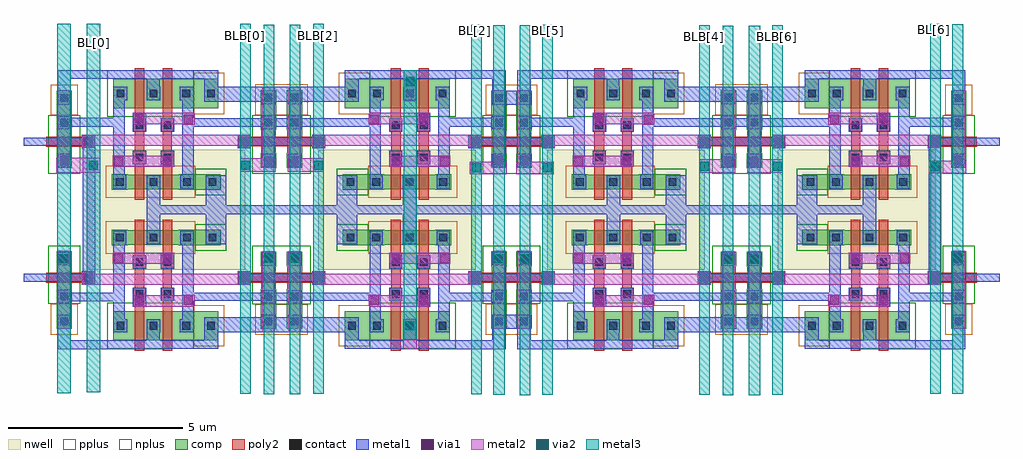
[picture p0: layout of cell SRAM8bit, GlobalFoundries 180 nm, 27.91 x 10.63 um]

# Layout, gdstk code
from math import pi, radians
import gdstk
lib = gdstk.Library(unit=1e-6, precision=5e-09)
def R(c, l, rs):  # rectangles x0, y0, x1, y1
    for r in rs: c.add(gdstk.rectangle(r[:2], r[2:], *l))
def A(c, l, x, y, w, h, nx, ny, dx, dy):  # array of equal rectangles
    R(c, l, [(x+i*dx, y+j*dy, x+i*dx+w, y+j*dy+h) for i in range(nx) for j in range(ny)])
nwell = (21, 0)
comp = (22, 0)
poly2 = (30, 0)
pplus = (31, 0)
nplus = (32, 0)
contact = (33, 0)
metal1 = (34, 0)
via1 = (35, 0)
metal2 = (36, 0)
via2 = (38, 0)
metal3 = (42, 0)

pfet_1 = lib.new_cell('pfet$1')
R(pfet_1, nwell, [(-1.16,-0.71,3.35,1.13)])
R(pfet_1, comp, [(-0.46,-0.01,0,0.43), (1.46,-0.01,1.92,0.43), (1.92,-0.01,2.65,0.43), (0,0,1.46,0.42)])
R(pfet_1, poly2, [(0.19,-0.3,0.47,0.72), (0.99,-0.3,1.27,0.72), (0.14,0.72,0.52,1.1), (0.94,0.72,1.32,1.1)])
R(pfet_1, pplus, [(-0.63,-0.25,1.92,0.67)])
R(pfet_1, nplus, [(1.92,-0.17,2.82,0.59)])
A(pfet_1, contact, -0.34, 0.1, 0.22, 0.22, 3, 1, 0.96, 0)
R(pfet_1, contact, [(2.31,0.1,2.53,0.32), (0.22,0.8,0.44,1.02), (1.02,0.8,1.24,1.02)])
A(pfet_1, metal1, -0.42, 0.02, 0.38, 0.38, 3, 1, 0.96, 0)
R(pfet_1, metal1, [(2.23,0.02,2.61,0.4), (0.14,0.72,0.52,1.1), (0.94,0.72,1.32,1.1)])

nfet_3 = lib.new_cell('nfet$3')
R(nfet_3, comp, [(-0.42,0,0,0.84), (0,0,1.46,0.84), (1.46,0,1.88,0.84), (1.88,0,2.59,0.84)])
R(nfet_3, poly2, [(0.19,-0.3,0.47,1.14), (0.99,-0.3,1.27,1.14), (0.15,1.14,0.51,1.5), (0.95,1.14,1.31,1.5)])
R(nfet_3, pplus, [(1.88,-0.17,2.76,1.01)])
R(nfet_3, nplus, [(-0.59,-0.24,1.88,1.08)])
A(nfet_3, contact, -0.32, 0.31, 0.22, 0.22, 3, 1, 0.94, 0)
R(nfet_3, contact, [(2.27,0.31,2.49,0.53), (0.22,1.21,0.44,1.43), (1.02,1.21,1.24,1.43)])
A(nfet_3, metal1, -0.4, 0.23, 0.38, 0.38, 3, 1, 0.94, 0)
R(nfet_3, metal1, [(2.19,0.23,2.57,0.61), (0.14,1.13,0.52,1.51), (0.94,1.13,1.32,1.51)])

nfet_2 = lib.new_cell('nfet$2')
R(nfet_2, comp, [(-0.42,-0.01,0,0.43), (0.66,-0.01,1.08,0.43), (1.08,-0.01,1.79,0.43), (0,0,0.66,0.42)])
R(nfet_2, poly2, [(0.19,-0.3,0.47,0.72), (0.15,0.72,0.51,1.08)])
R(nfet_2, pplus, [(1.08,-0.17,1.96,0.59)])
R(nfet_2, nplus, [(-0.59,-0.25,1.08,0.67)])
R(nfet_2, contact, [(-0.32,0.1,-0.1,0.32), (0.76,0.1,0.98,0.32), (1.47,0.1,1.69,0.32), (0.22,0.79,0.44,1.01)])
R(nfet_2, metal1, [(-0.4,0.02,-0.02,0.4), (0.68,0.02,1.06,0.4), (1.39,0.02,1.77,0.4), (0.14,0.71,0.52,1.09)])

sram = lib.new_cell('SRAM')
R(sram, poly2, [(-1.335,0.4,-1.055,2.295), (-0.535,0.495,-0.265,2.495)])
R(sram, metal1, [(-3.535,-0.58,-0.48,-0.33), (-0.995,-0.57,1.065,-0.33), (-0.985,-0.57,-0.62,0.28), (0.665,-0.57,1.06,0.28), (-3.535,-0.505,-3.155,0.4), (0.03,-0.1,0.355,2.8), (0.03,-0.1,0.355,2.8), (0.665,-0.1,2.895,0.33), (-1.94,-0.095,-1.615,2.805), (-1.38,0.635,-1,1.18), (-3.535,0.785,-1.615,1.04), (0.03,0.8,2.895,1.04), (1.625,1.345,2.95,1.575), (-4.51,1.35,-2.545,1.58), (-0.585,1.725,-0.205,2.18), (-0.585,1.725,-0.205,2.185), (-0.985,2.425,-0.6,3.52), (0.705,2.425,1.295,3.52), (-0.985,3.285,1.295,3.52)])
R(sram, via1, [(-1.33,0.67,-1.07,0.93), (0.075,0.695,0.335,0.955), (-2.8,1.335,-2.54,1.595), (1.68,1.335,1.94,1.595), (-3.465,1.875,-3.205,2.135), (-0.535,1.88,-0.275,2.14), (-1.92,1.89,-1.66,2.15), (2.385,1.915,2.645,2.175)])
R(sram, metal2, [(2.315,-0.09,2.67,2.22), (-3.535,0,-3.18,2.23), (-1.37,0.635,-1.025,0.975), (-1.37,0.64,0.355,0.97), (0.035,0.66,0.38,0.975), (-2.85,1.27,1.985,1.58), (-2.845,1.3,-2.475,1.64), (1.64,1.3,1.985,1.64), (-1.96,1.87,-1.615,2.17), (-1.94,1.87,-0.205,2.185), (-0.575,1.87,-0.23,2.185)])
sram.add(gdstk.Reference(pfet_1, (-1.525,2.825), x_reflection=True))
sram.add(gdstk.Reference(nfet_3, (-1.525,-0.33)))
sram.add(gdstk.Reference(nfet_2, (-3.555,1.795), rotation=3*pi/2))
sram.add(gdstk.Reference(nfet_2, (2.705,1.79), rotation=3*pi/2, x_reflection=True))
sram.add(gdstk.Label('BLB', (2.35,1.895), layer=34, texttype=10))
sram.add(gdstk.Label('BL', (-3.495,1.955), layer=34, texttype=10))
sram.add(gdstk.Label('GND', (0.86,-0.25), layer=34, texttype=10))
sram.add(gdstk.Label('VDD', (0.9,3.005), layer=34, texttype=10))
sram.add(gdstk.Label('WL', (1.755,1.42), layer=34, texttype=10))

c_sram = lib.new_cell('sram')
c_sram.add(gdstk.Reference(sram, (0,0)))

sram8bit = lib.new_cell('SRAM8bit')
R(sram8bit, metal1, [(12.985,-7.13,14.085,-6.725), (25.46,-5.85,25.82,-1.59), (1.27,-5.845,1.625,-1.615), (4.375,-3.845,23.965,-3.59), (12.985,-0.715,14.085,-0.315)])
R(sram8bit, metal2, [(10.445,-7.705,10.825,-6.85), (12.34,-2.71,13.395,-2.345), (13.675,-2.71,14.745,-2.35), (25.47,-2.68,26.54,-2.32), (0.51,-2.66,1.77,-2.24), (18.91,-2.66,19.93,-2.285), (20.27,-2.66,21.29,-2.285), (5.78,-2.63,6.8,-2.255), (7.14,-2.63,8.16,-2.255), (10.45,-0.615,10.825,0.26)])
R(sram8bit, via2, [(10.495,-7.175,10.755,-6.915), (19.595,-5.265,19.855,-5.005), (20.345,-5.265,20.605,-5.005), (13.785,-5.26,14.045,-5), (0.59,-5.255,0.85,-4.995), (13.045,-5.255,13.305,-4.995), (6.465,-5.235,6.725,-4.975), (7.215,-5.235,7.475,-4.975), (26.17,-5.23,26.43,-4.97), (14.435,-2.655,14.695,-2.395), (12.41,-2.65,12.67,-2.39), (25.52,-2.625,25.78,-2.365), (18.93,-2.605,19.19,-2.345), (21.01,-2.605,21.27,-2.345), (1.44,-2.585,1.7,-2.325), (5.8,-2.575,6.06,-2.315), (7.88,-2.575,8.14,-2.315), (10.505,-0.185,10.765,0.075)])
R(sram8bit, metal3, [(19.575,-9.03,19.88,1.545), (20.315,-9.03,20.645,1.545), (13.77,-9.02,14.075,1.555), (13.01,-9.015,13.335,1.56), (18.91,-9.015,19.205,1.56), (20.995,-9.015,21.29,1.56), (14.41,-9.01,14.71,1.565), (12.385,-9.005,12.68,1.57), (6.45,-9,6.75,1.575), (7.195,-9,7.49,1.575), (26.14,-8.99,26.46,1.585), (5.78,-8.985,6.075,1.59), (7.865,-8.985,8.16,1.59), (25.51,-8.98,25.805,1.595), (0.545,-8.975,0.925,1.6), (1.39,-8.94,1.77,1.595), (10.45,-7.44,10.825,0.26)])
sram8bit.add(gdstk.Reference(c_sram, (4.09,-0.31), x_reflection=True))
sram8bit.add(gdstk.Reference(c_sram, (4.09,-0.31), x_reflection=True))
sram8bit.add(gdstk.Reference(c_sram, (9.83,-0.31), rotation=pi))
sram8bit.add(gdstk.Reference(c_sram, (17.24,-0.31), x_reflection=True))
sram8bit.add(gdstk.Reference(c_sram, (17.24,-0.31), x_reflection=True))
sram8bit.add(gdstk.Reference(c_sram, (22.98,-0.31), rotation=pi))
sram8bit.add(gdstk.Reference(c_sram, (4.09,-7.13)))
sram8bit.add(gdstk.Reference(c_sram, (4.09,-7.13)))
sram8bit.add(gdstk.Reference(c_sram, (9.83,-7.13), rotation=pi, x_reflection=True))
sram8bit.add(gdstk.Reference(c_sram, (17.24,-7.13)))
sram8bit.add(gdstk.Reference(c_sram, (17.24,-7.13)))
sram8bit.add(gdstk.Reference(c_sram, (22.98,-7.13), rotation=pi, x_reflection=True))
sram8bit.add(gdstk.Label('BL[0]', (1.605,1.06), layer=42, texttype=10))
sram8bit.add(gdstk.Label('BL[1]', (0.785,1.225), layer=42, texttype=10))
sram8bit.add(gdstk.Label('BLB[0]', (5.93,1.265), layer=42, texttype=10))
sram8bit.add(gdstk.Label('BLB[1]', (6.515,1.305), layer=42, texttype=10))
sram8bit.add(gdstk.Label('BLB[2]', (8.01,1.265), layer=42, texttype=10))
sram8bit.add(gdstk.Label('BLB[3]', (7.425,1.305), layer=42, texttype=10))
sram8bit.add(gdstk.Label('BLB[4]', (19.06,1.235), layer=42, texttype=10))
sram8bit.add(gdstk.Label('BLB[5]', (19.645,1.275), layer=42, texttype=10))
sram8bit.add(gdstk.Label('BLB[6]', (21.14,1.235), layer=42, texttype=10))
sram8bit.add(gdstk.Label('BLB[7]', (20.555,1.275), layer=42, texttype=10))
sram8bit.add(gdstk.Label('BL[2]', (12.51,1.405), layer=42, texttype=10))
sram8bit.add(gdstk.Label('BL[3]', (13.08,1.365), layer=42, texttype=10))
sram8bit.add(gdstk.Label('BL[5]', (14.58,1.4), layer=42, texttype=10))
sram8bit.add(gdstk.Label('BL[4]', (14.01,1.36), layer=42, texttype=10))
sram8bit.add(gdstk.Label('BL[6]', (25.635,1.43), layer=42, texttype=10))
sram8bit.add(gdstk.Label('BL[7]', (26.205,1.39), layer=42, texttype=10))

lib.write_gds('SRAM8bit.gds')
